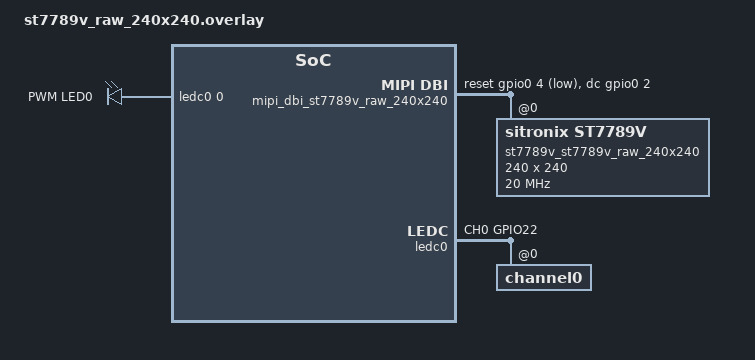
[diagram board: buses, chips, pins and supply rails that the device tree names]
/*
 * Copyright (c) 2019 Jan Van Winkel <jan.van_winkel@dxplore.eu>
 * Copyright (c) 2019 PHYTEC Messtechnik GmbH
 *
 * SPDX-License-Identifier: Apache-2.0
 */

#include <zephyr/dt-bindings/mipi_dbi/mipi_dbi.h>
#include <zephyr/dt-bindings/gpio/arduino-header-r3.h>
#include <zephyr/dt-bindings/pwm/pwm.h>

/ {		

    aliases {
		pwm-0 = &ledc0;
		pwm-led0 = &pwm_led_blue;
	};

	pwmleds {
		compatible = "pwm-leds";

		pwm_led_blue: pwm_led_gpio0_22 {
			label = "PWM LED0";
			pwms = <&ledc0 0 1000 PWM_POLARITY_NORMAL>;
		};
	};

	chosen {
		zephyr,display = &st7789v_st7789v_raw_240x240;
	};


	mipi_dbi_st7789v_raw_240x240 {
		compatible = "zephyr,mipi-dbi-spi";
		spi-dev = <&spi2>;
		dc-gpios = <&gpio0 2  GPIO_ACTIVE_HIGH>;
		reset-gpios = <&gpio0 4  GPIO_ACTIVE_LOW>;
		write-only;
		#address-cells = <1>;
		#size-cells = <0>;

		st7789v_st7789v_raw_240x240: st7789v@0 {
			compatible = "sitronix,st7789v";
			mipi-max-frequency = <20000000>;
			reg = <0>;
			width = <240>;
			height = <240>;
			x-offset = <0>;
			y-offset = <0>;
			vcom = <0x19>;
			gctrl = <0x35>;
			vrhs = <0x12>;
			vdvs = <0x20>;
			mdac = <0x18>;
			gamma = <0x01>;
			colmod = <0x05>;
			lcm = <0x2c>;
			porch-param = [0c 0c 00 33 33];
			cmd2en-param = [5a 69 02 01];
			pwctrl1-param = [a4 a1];
			pvgam-param = [D0 04 0D 11 13 2B 3F 54 4C 18 0D 0B 1F 23];
			nvgam-param = [D0 04 0C 11 13 2C 3F 44 51 2F 1F 1F 20 23];
			ram-param = [00 F0];
			rgb-param = [CD 08 14];
			mipi-mode = "MIPI_DBI_MODE_SPI_4WIRE";
		};
	};
};

&pinctrl {
       spim2_default: spim2_default {
		group1 {
			pinmux = <SPIM2_MISO_GPIO5>,
				 <SPIM2_SCLK_GPIO18>,
				 <SPIM2_CSEL_GPIO14>;
		};

		group2 {
			pinmux = <SPIM2_MOSI_GPIO23>;
			output-low;
		};
		
	};

	ledc0_default: ledc0_default {
		group1 {
			pinmux = <LEDC_CH0_GPIO22>;
			output-enable;
		};
	};
	
};

&ledc0 {
	pinctrl-0 = <&ledc0_default>;
	pinctrl-names = "default";
	status = "okay";
	#address-cells = <1>;
	#size-cells = <0>;

	channel0@0 {
		reg = <0x0>;
		timer = <0>;
	};
};
